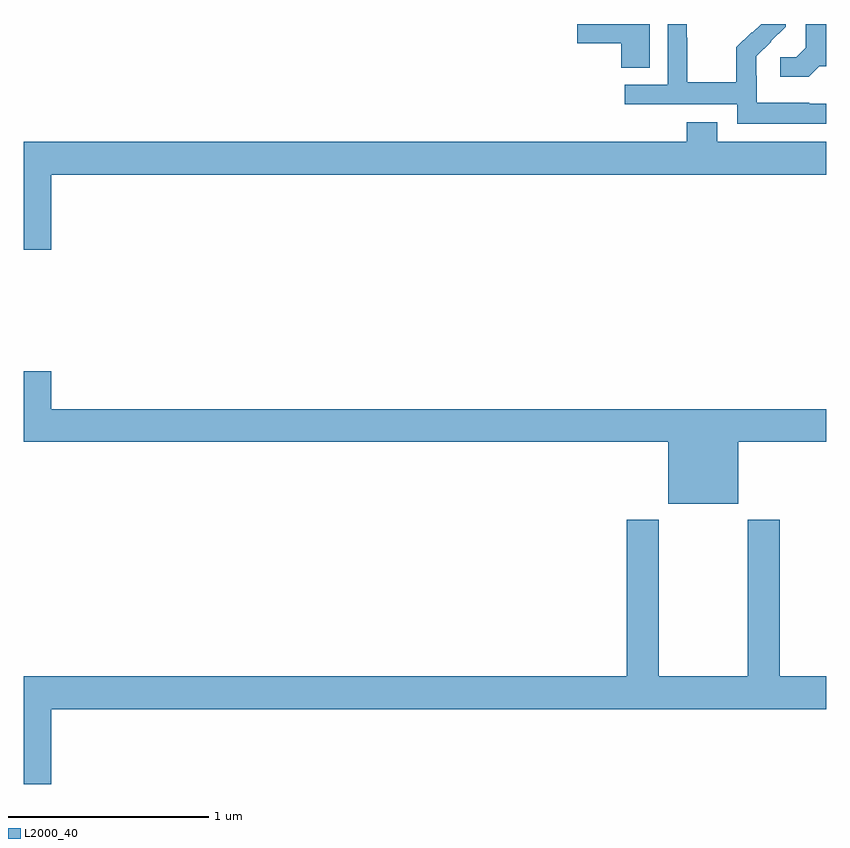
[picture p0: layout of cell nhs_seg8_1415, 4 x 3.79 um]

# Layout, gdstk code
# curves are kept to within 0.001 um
import gdstk
lib = gdstk.Library(unit=1e-6, precision=1e-09)
def P(c, l, *ps):  # polygons
    for p in ps: c.add(gdstk.Polygon(p, *l))
L2000_40 = (2000, 40)

nhs_seg8_1415 = lib.new_cell('nhs_seg8_1415')
P(nhs_seg8_1415, L2000_40, [(205,1135.503),(204.917,1135.503),(204.917,1135.507),(204.654,1135.507),(204.654,1135.641),(204.652,1135.641),(204.652,1135.738),(204.798,1135.886),(204.798,1135.9),(204.676,1135.9),(204.633,1135.857),(204.63,1135.86),(204.553,1135.783),(204.553,1135.609),(204.309,1135.609),(204.309,1135.832),(204.306,1135.832),(204.306,1135.9),(204.21,1135.9),(204.21,1135.596),(203.997,1135.596),(203.997,1135.5),(204.558,1135.5),(204.558,1135.403),(205,1135.403)],
  [(204.121,1135.9),(203.76,1135.9),(203.76,1135.805),(203.978,1135.805),(203.978,1135.681),(204.121,1135.681)],
  [(204.966,1135.689),(205,1135.689),(205,1135.9),(204.899,1135.9),(204.899,1135.781),(204.852,1135.734),(204.771,1135.734),(204.771,1135.637),(204.914,1135.637)],
  [(201.136,1135.148),(205,1135.148),(205,1135.312),(204.457,1135.312),(204.457,1135.411),(204.305,1135.411),(204.305,1135.312),(201,1135.312),(201,1134.774),(201.136,1134.774)],
  [(201,1134.169),(201,1133.816),(204.212,1133.816),(204.212,1133.507),(204.562,1133.507),(204.562,1133.816),(205,1133.816),(205,1133.98),(201.136,1133.98),(201.136,1134.169)],
  [(201.136,1132.484),(205,1132.484),(205,1132.648),(204.77,1132.648),(204.77,1133.428),(204.61,1133.428),(204.61,1132.648),(204.165,1132.648),(204.165,1133.428),(204.005,1133.428),(204.005,1132.648),(201,1132.648),(201,1132.11),(201.136,1132.11)])

lib.write_gds('nhs_seg8_1415.gds')
